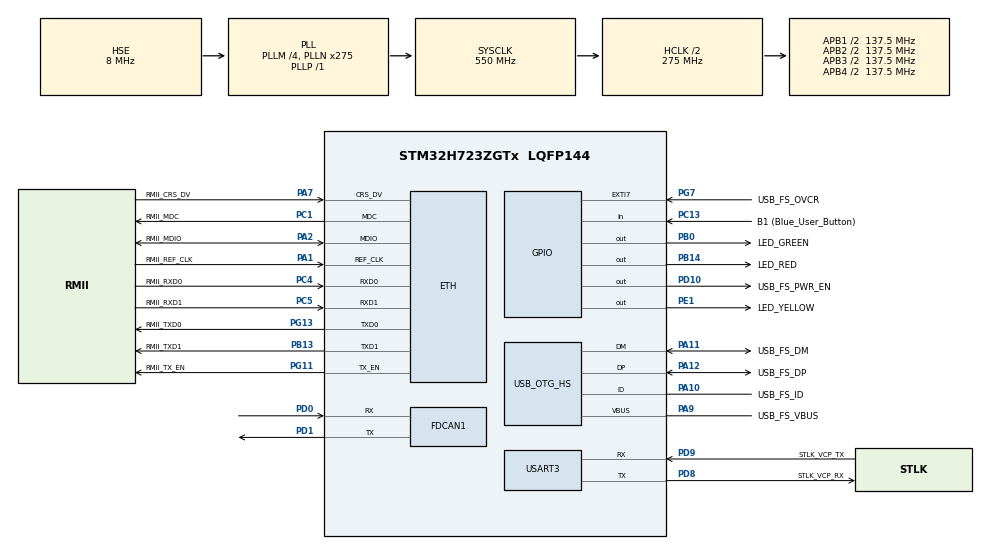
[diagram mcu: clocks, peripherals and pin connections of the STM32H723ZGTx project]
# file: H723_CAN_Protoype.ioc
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ETH.MediaInterface=HAL_ETH_RMII_MODE
FDCAN1.CalculateBaudRateNominal=500000
FDCAN1.CalculateTimeBitNominal=2000
FDCAN1.CalculateTimeQuantumNominal=125.0
FDCAN1.NominalPrescaler=1
FDCAN1.NominalTimeSeg1=11
FDCAN1.NominalTimeSeg2=4
FREERTOS.Tasks01=defaultTask,24,128,StartDefaultTask,Default,NULL,Dynamic,NULL,NULL
FREERTOS.configUSE_NEWLIB_REENTRANT=1
Mcu.Family=STM32H7
Mcu.Name=STM32H723ZGTx
Mcu.Package=LQFP144
NVIC.PriorityGroup=NVIC_PRIORITYGROUP_4
NVIC.TIM6_DAC_IRQn=true\:15\:0\:false\:false\:true\:false\:false\:true\:true
NVIC.TimeBase=TIM6_DAC_IRQn
NVIC.TimeBaseIP=TIM6
PA1.GPIO_Label=RMII_REF_CLK
PA1.Mode=RMII
PA1.Signal=ETH_REF_CLK
PA10.GPIO_Label=USB_FS_ID
PA10.Mode=OTG/Dual-Role-Device-FS
PA10.Signal=USB_OTG_HS_ID
PA11.GPIO_Label=USB_FS_DM
PA11.Mode=OTG/Dual-Role-Device-FS
PA11.Signal=USB_OTG_HS_DM
PA12.GPIO_Label=USB_FS_DP
PA12.Mode=OTG/Dual-Role-Device-FS
PA12.Signal=USB_OTG_HS_DP
PA13(JTMS/SWDIO).GPIO_Label=SWDIO
PA13(JTMS/SWDIO).Mode=Trace_Asynchronous_SW
PA13(JTMS/SWDIO).Signal=DEBUG_JTMS-SWDIO
PA14(JTCK/SWCLK).GPIO_Label=SWCLK
PA14(JTCK/SWCLK).Mode=Trace_Asynchronous_SW
PA14(JTCK/SWCLK).Signal=DEBUG_JTCK-SWCLK
PA2.GPIO_Label=RMII_MDIO
PA2.Mode=RMII
PA2.Signal=ETH_MDIO
PA7.GPIO_Label=RMII_CRS_DV
PA7.Mode=RMII
PA7.Signal=ETH_CRS_DV
PA9.GPIO_Label=USB_FS_VBUS
PA9.Mode=Activate_VBUS_FS
PA9.Signal=USB_OTG_HS_VBUS
PB0.GPIO_Label=LED_GREEN
PB0.Signal=GPIO_Output
PB13.GPIO_Label=RMII_TXD1
PB13.Mode=RMII
PB13.Signal=ETH_TXD1
PB14.GPIO_Label=LED_RED
PB14.Signal=GPIO_Output
PB3(JTDO/TRACESWO).GPIO_Label=SWO
PB3(JTDO/TRACESWO).Mode=Trace_Asynchronous_SW
PB3(JTDO/TRACESWO).Signal=DEBUG_JTDO-SWO
PC1.GPIO_Label=RMII_MDC
PC1.Mode=RMII
PC1.Signal=ETH_MDC
PC13.GPIO_Label=B1 (Blue_User_Button)
PC13.Signal=GPIO_Input
PC14-OSC32_IN.Mode=LSE-External-Oscillator
PC14-OSC32_IN.Signal=RCC_OSC32_IN
PC15-OSC32_OUT.Mode=LSE-External-Oscillator
PC15-OSC32_OUT.Signal=RCC_OSC32_OUT
PC4.GPIO_Label=RMII_RXD0
PC4.Mode=RMII
PC4.Signal=ETH_RXD0
PC5.GPIO_Label=RMII_RXD1
PC5.Mode=RMII
PC5.Signal=ETH_RXD1
PD0.Mode=FDCAN_Activate
PD0.Signal=FDCAN1_RX
PD1.Mode=FDCAN_Activate
PD1.Signal=FDCAN1_TX
PD10.GPIO_Label=USB_FS_PWR_EN
PD10.Signal=GPIO_Output
PD8.GPIO_Label=STLK_VCP_RX
PD8.Mode=Asynchronous
PD8.Signal=USART3_TX
PD9.GPIO_Label=STLK_VCP_TX
PD9.Mode=Asynchronous
PD9.Signal=USART3_RX
PE1.GPIO_Label=LED_YELLOW
PE1.Signal=GPIO_Output
PG11.GPIO_Label=RMII_TX_EN
PG11.Mode=RMII
PG11.Signal=ETH_TX_EN
PG13.GPIO_Label=RMII_TXD0
PG13.Mode=RMII
PG13.Signal=ETH_TXD0
PG7.GPIO_Label=USB_FS_OVCR
PG7.Signal=GPXTI7
PH0-OSC_IN.GPIO_Label=MCO
PH0-OSC_IN.Mode=HSE-External-Clock-Source
PH0-OSC_IN.Signal=RCC_OSC_IN
PH1-OSC_OUT.Signal=RCC_OSC_OUT
ProjectManager.HeapSize=0x200
ProjectManager.StackSize=0x400
ProjectManager.TargetToolchain=STM32CubeIDE
RCC.ADCFreq_Value=76000000
RCC.APB1Freq_Value=137500000
RCC.APB2Freq_Value=137500000
RCC.APB3Freq_Value=137500000
RCC.APB4Freq_Value=137500000
RCC.CortexFreq_Value=550000000
RCC.D1PPRE=RCC_APB3_DIV2
RCC.D2PPRE1=RCC_APB1_DIV2
RCC.D2PPRE2=RCC_APB2_DIV2
RCC.D3PPRE=RCC_APB4_DIV2
RCC.DIVM1=4
RCC.DIVM2=1
RCC.DIVN1=275
RCC.DIVN2=19
RCC.DIVP1=1
RCC.DIVQ1=4
RCC.FDCANCLockSelection=RCC_FDCANCLKSOURCE_HSE
RCC.HCLKFreq_Value=275000000
RCC.HPRE=RCC_HCLK_DIV2
RCC.HSE_VALUE=8000000
RCC.PLLSourceVirtual=RCC_PLLSOURCE_HSE
RCC.SYSCLKFreq_VALUE=550000000
RCC.SYSCLKSource=RCC_SYSCLKSOURCE_PLLCLK
RCC.USBCLockSelection=RCC_USBCLKSOURCE_HSI48
RCC.USBFreq_Value=48000000
USART3.VirtualMode-Asynchronous=VM_ASYNC
VP_FREERTOS_VS_CMSIS_V2.Mode=CMSIS_V2
VP_SYS_VS_tim6.Mode=TIM6
board=NUCLEO-H723ZG

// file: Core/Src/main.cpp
/* USER CODE BEGIN Header */
/**
 ******************************************************************************
 * @file           : main.c
 * @brief          : Main program body
 ******************************************************************************
 * @attention
 *
 * Copyright (c) 2023 STMicroelectronics.
 * All rights reserved.
 *
 * This software is licensed under terms that can be found in the LICENSE file
 * in the root directory of this software component.
 * If no LICENSE file comes with this software, it is provided AS-IS.
 *
 ******************************************************************************
 */
/* USER CODE END Header */
#include "main.h"
#include "string.h"
#include "cmsis_os.h"

/* USER CODE BEGIN Includes */
#include "FreeRTOS.h"
#include <stdio.h>
#include "FS_CAN.h"

/* USER CODE END Includes */

#if defined(__ICCARM__) /*!< IAR Compiler */
#pragma location = 0x30000000
ETH_DMADescTypeDef DMARxDscrTab[ETH_RX_DESC_CNT]; /* Ethernet Rx DMA Descriptors */
#pragma location = 0x30000200
ETH_DMADescTypeDef DMATxDscrTab[ETH_TX_DESC_CNT]; /* Ethernet Tx DMA Descriptors */

#elif defined(__CC_ARM) /* MDK ARM Compiler */

__attribute__((at(0x30000000))) ETH_DMADescTypeDef DMARxDscrTab[ETH_RX_DESC_CNT]; /* Ethernet Rx DMA Descriptors */
__attribute__((at(0x30000200))) ETH_DMADescTypeDef DMATxDscrTab[ETH_TX_DESC_CNT]; /* Ethernet Tx DMA Descriptors */

#elif defined(__GNUC__) /* GNU Compiler */
ETH_DMADescTypeDef DMARxDscrTab[ETH_RX_DESC_CNT] __attribute__((section(".RxDecripSection"))); /* Ethernet Rx DMA Descriptors */
ETH_DMADescTypeDef DMATxDscrTab[ETH_TX_DESC_CNT] __attribute__((section(".TxDecripSection"))); /* Ethernet Tx DMA Descriptors */

#endif

ETH_TxPacketConfig TxConfig;

ETH_HandleTypeDef heth;

FDCAN_HandleTypeDef hfdcan1;

UART_HandleTypeDef huart3;

/* Definitions for defaultTask */

/* USER CODE BEGIN PV */
FS_CAN CAN1(&hfdcan1);
/* USER CODE END PV */

void SystemClock_Config(void);
static void MX_GPIO_Init(void);
static void MX_ETH_Init(void);
static void MX_USART3_UART_Init(void);
static void MX_USB_OTG_HS_USB_Init(void);
static void MX_FDCAN1_Init(void);
void StartDefaultTask(void *argument);

/* USER CODE BEGIN PFP */
void CAN_TX_Wrapper(void *parameters);
/* USER CODE END PFP */

/* USER CODE BEGIN 0 */
extern "C"
{
#ifdef __GNUC__
#define PUTCHAR_PROTOTYPE int __io_putchar(int ch)
#define GETCHAR_PROTOTYPE int __io_getchar(void)
#else
#define PUTCHAR_PROTOTYPE int fputc(int ch, FILE *f)
#define GETCHAR_PROTOTYPE int fgetc(FILE *f)
#endif

  PUTCHAR_PROTOTYPE
  {
    HAL_UART_Transmit(&huart3, (uint8_t *)&ch, 1, HAL_MAX_DELAY);
    return ch;
  }

  GETCHAR_PROTOTYPE
  {
    uint8_t ch = 0;

    /* Clear the Overrun flag just before receiving the first character */
    __HAL_UART_CLEAR_OREFLAG(&huart3);

    /* Wait for reception of a character on the USART RX line and echo this
     * character on console */
    HAL_UART_Receive(&huart3, (uint8_t *)&ch, 1, HAL_MAX_DELAY);
    HAL_UART_Transmit(&huart3, (uint8_t *)&ch, 1, HAL_MAX_DELAY);
    return ch;
  }
}
/* USER CODE END 0 */

int main(void)
{

  /* MCU Configuration--------------------------------------------------------*/

  /* Reset of all peripherals, Initializes the Flash interface and the Systick. */
  HAL_Init();

  /* Configure the system clock */
  SystemClock_Config();

  /* USER CODE BEGIN SysInit */
  setvbuf(stdin, NULL, _IONBF, 0);
  /* USER CODE END SysInit */

  /* Initialize all configured peripherals */
  MX_GPIO_Init();
  MX_ETH_Init();
  MX_USART3_UART_Init();
  MX_USB_OTG_HS_USB_Init();
  MX_FDCAN1_Init();
  /* USER CODE BEGIN 2 */
  if (HAL_FDCAN_Start(&hfdcan1) != HAL_OK)
  {
    Error_Handler();
  }
  printf("Can inited\n");

  xTaskCreate(
      CAN_TX_Wrapper,
      "CAN_TX",
      2048,
      NULL,
      1,
      NULL);

  /* USER CODE END 2 */

  /* Init scheduler */

  /* Create the thread(s) */
  /* creation of defaultTask */

  /* Start scheduler */
  vTaskStartScheduler();

  /* We should never get here as control is now taken by the scheduler */
  /* Infinite loop */
  while (1)
  {

  }
}

void SystemClock_Config(void)
{
  RCC_OscInitTypeDef RCC_OscInitStruct = {0};
  RCC_ClkInitTypeDef RCC_ClkInitStruct = {0};

  /** Supply configuration update enable
   */
  HAL_PWREx_ConfigSupply(PWR_LDO_SUPPLY);

  /** Configure the main internal regulator output voltage
   */
  __HAL_PWR_VOLTAGESCALING_CONFIG(PWR_REGULATOR_VOLTAGE_SCALE0);

  while (!__HAL_PWR_GET_FLAG(PWR_FLAG_VOSRDY))
  {
  }

  /** Initializes the RCC Oscillators according to the specified parameters
   * in the RCC_OscInitTypeDef structure.
   */
  RCC_OscInitStruct.OscillatorType = RCC_OSCILLATORTYPE_HSI48 | RCC_OSCILLATORTYPE_HSE;
  RCC_OscInitStruct.HSEState = RCC_HSE_BYPASS;
  RCC_OscInitStruct.HSI48State = RCC_HSI48_ON;
  RCC_OscInitStruct.PLL.PLLState = RCC_PLL_ON;
  RCC_OscInitStruct.PLL.PLLSource = RCC_PLLSOURCE_HSE;
  RCC_OscInitStruct.PLL.PLLM = 4;
  RCC_OscInitStruct.PLL.PLLN = 275;
  RCC_OscInitStruct.PLL.PLLP = 1;
  RCC_OscInitStruct.PLL.PLLQ = 4;
  RCC_OscInitStruct.PLL.PLLR = 2;
  RCC_OscInitStruct.PLL.PLLRGE = RCC_PLL1VCIRANGE_1;
  RCC_OscInitStruct.PLL.PLLVCOSEL = RCC_PLL1VCOWIDE;
  RCC_OscInitStruct.PLL.PLLFRACN = 0;
  if (HAL_RCC_OscConfig(&RCC_OscInitStruct) != HAL_OK)
  {
    Error_Handler();
  }

  /** Initializes the CPU, AHB and APB buses clocks
   */
  RCC_ClkInitStruct.ClockType = RCC_CLOCKTYPE_HCLK | RCC_CLOCKTYPE_SYSCLK | RCC_CLOCKTYPE_PCLK1 | RCC_CLOCKTYPE_PCLK2 | RCC_CLOCKTYPE_D3PCLK1 | RCC_CLOCKTYPE_D1PCLK1;
  RCC_ClkInitStruct.SYSCLKSource = RCC_SYSCLKSOURCE_PLLCLK;
  RCC_ClkInitStruct.SYSCLKDivider = RCC_SYSCLK_DIV1;
  RCC_ClkInitStruct.AHBCLKDivider = RCC_HCLK_DIV2;
  RCC_ClkInitStruct.APB3CLKDivider = RCC_APB3_DIV2;
  RCC_ClkInitStruct.APB1CLKDivider = RCC_APB1_DIV2;
  RCC_ClkInitStruct.APB2CLKDivider = RCC_APB2_DIV2;
  RCC_ClkInitStruct.APB4CLKDivider = RCC_APB4_DIV2;

  if (HAL_RCC_ClockConfig(&RCC_ClkInitStruct, FLASH_LATENCY_3) != HAL_OK)
  {
    Error_Handler();
  }
}

static void MX_ETH_Init(void)
{

  static uint8_t MACAddr[6];

  heth.Instance = ETH;
  MACAddr[0] = 0x00;
  MACAddr[1] = 0x80;
  MACAddr[2] = 0xE1;
  MACAddr[3] = 0x00;
  MACAddr[4] = 0x00;
  MACAddr[5] = 0x00;
  heth.Init.MACAddr = &MACAddr[0];
  heth.Init.MediaInterface = HAL_ETH_RMII_MODE;
  heth.Init.TxDesc = DMATxDscrTab;
  heth.Init.RxDesc = DMARxDscrTab;
  heth.Init.RxBuffLen = 1524;

  if (HAL_ETH_Init(&heth) != HAL_OK)
  {
    Error_Handler();
  }

  memset(&TxConfig, 0, sizeof(ETH_TxPacketConfig));
  TxConfig.Attributes = ETH_TX_PACKETS_FEATURES_CSUM | ETH_TX_PACKETS_FEATURES_CRCPAD;
  TxConfig.ChecksumCtrl = ETH_CHECKSUM_IPHDR_PAYLOAD_INSERT_PHDR_CALC;
  TxConfig.CRCPadCtrl = ETH_CRC_PAD_INSERT;
}

static void MX_FDCAN1_Init(void)
{

  hfdcan1.Instance = FDCAN1;
  hfdcan1.Init.FrameFormat = FDCAN_FRAME_CLASSIC;
  hfdcan1.Init.Mode = FDCAN_MODE_NORMAL;
  hfdcan1.Init.AutoRetransmission = DISABLE;
  hfdcan1.Init.TransmitPause = DISABLE;
  hfdcan1.Init.ProtocolException = DISABLE;
  hfdcan1.Init.NominalPrescaler = 1;
  hfdcan1.Init.NominalSyncJumpWidth = 1;
  hfdcan1.Init.NominalTimeSeg1 = 11;
  hfdcan1.Init.NominalTimeSeg2 = 4;
  hfdcan1.Init.DataPrescaler = 1;
  hfdcan1.Init.DataSyncJumpWidth = 1;
  hfdcan1.Init.DataTimeSeg1 = 1;
  hfdcan1.Init.DataTimeSeg2 = 1;
  hfdcan1.Init.MessageRAMOffset = 0;
  hfdcan1.Init.StdFiltersNbr = 0;
  hfdcan1.Init.ExtFiltersNbr = 0;
  hfdcan1.Init.RxFifo0ElmtsNbr = 0;
  hfdcan1.Init.RxFifo0ElmtSize = FDCAN_DATA_BYTES_8;
  hfdcan1.Init.RxFifo1ElmtsNbr = 0;
  hfdcan1.Init.RxFifo1ElmtSize = FDCAN_DATA_BYTES_8;
  hfdcan1.Init.RxBuffersNbr = 0;
  hfdcan1.Init.RxBufferSize = FDCAN_DATA_BYTES_8;
  hfdcan1.Init.TxEventsNbr = 0;
  hfdcan1.Init.TxBuffersNbr = 0;
  hfdcan1.Init.TxFifoQueueElmtsNbr = 1;
  hfdcan1.Init.TxFifoQueueMode = FDCAN_TX_FIFO_OPERATION;
  hfdcan1.Init.TxElmtSize = FDCAN_DATA_BYTES_8;
  if (HAL_FDCAN_Init(&hfdcan1) != HAL_OK)
  {
    Error_Handler();
  }
}

static void MX_USART3_UART_Init(void)
{

  huart3.Instance = USART3;
  huart3.Init.BaudRate = 115200;
  huart3.Init.WordLength = UART_WORDLENGTH_8B;
  huart3.Init.StopBits = UART_STOPBITS_1;
  huart3.Init.Parity = UART_PARITY_NONE;
  huart3.Init.Mode = UART_MODE_TX_RX;
  huart3.Init.HwFlowCtl = UART_HWCONTROL_NONE;
  huart3.Init.OverSampling = UART_OVERSAMPLING_16;
  huart3.Init.OneBitSampling = UART_ONE_BIT_SAMPLE_DISABLE;
  huart3.Init.ClockPrescaler = UART_PRESCALER_DIV1;
  huart3.AdvancedInit.AdvFeatureInit = UART_ADVFEATURE_NO_INIT;
  if (HAL_UART_Init(&huart3) != HAL_OK)
  {
    Error_Handler();
  }
  if (HAL_UARTEx_SetTxFifoThreshold(&huart3, UART_TXFIFO_THRESHOLD_1_8) != HAL_OK)
  {
    Error_Handler();
  }
  if (HAL_UARTEx_SetRxFifoThreshold(&huart3, UART_RXFIFO_THRESHOLD_1_8) != HAL_OK)
  {
    Error_Handler();
  }
  if (HAL_UARTEx_DisableFifoMode(&huart3) != HAL_OK)
  {
    Error_Handler();
  }
}

static void MX_USB_OTG_HS_USB_Init(void)
{

}

static void MX_GPIO_Init(void)
{
  GPIO_InitTypeDef GPIO_InitStruct = {0};

  /* GPIO Ports Clock Enable */
  __HAL_RCC_GPIOC_CLK_ENABLE();
  __HAL_RCC_GPIOH_CLK_ENABLE();
  __HAL_RCC_GPIOA_CLK_ENABLE();
  __HAL_RCC_GPIOB_CLK_ENABLE();
  __HAL_RCC_GPIOD_CLK_ENABLE();
  __HAL_RCC_GPIOG_CLK_ENABLE();
  __HAL_RCC_GPIOE_CLK_ENABLE();

  /*Configure GPIO pin Output Level */
  HAL_GPIO_WritePin(GPIOB, LED_GREEN_Pin | LED_RED_Pin, GPIO_PIN_RESET);

  /*Configure GPIO pin Output Level */
  HAL_GPIO_WritePin(USB_FS_PWR_EN_GPIO_Port, USB_FS_PWR_EN_Pin, GPIO_PIN_RESET);

  /*Configure GPIO pin Output Level */
  HAL_GPIO_WritePin(LED_YELLOW_GPIO_Port, LED_YELLOW_Pin, GPIO_PIN_RESET);

  /*Configure GPIO pin : B1_Pin */
  GPIO_InitStruct.Pin = B1_Pin;
  GPIO_InitStruct.Mode = GPIO_MODE_INPUT;
  GPIO_InitStruct.Pull = GPIO_NOPULL;
  HAL_GPIO_Init(B1_GPIO_Port, &GPIO_InitStruct);

  /*Configure GPIO pins : LED_GREEN_Pin LED_RED_Pin */
  GPIO_InitStruct.Pin = LED_GREEN_Pin | LED_RED_Pin;
  GPIO_InitStruct.Mode = GPIO_MODE_OUTPUT_PP;
  GPIO_InitStruct.Pull = GPIO_NOPULL;
  GPIO_InitStruct.Speed = GPIO_SPEED_FREQ_LOW;
  HAL_GPIO_Init(GPIOB, &GPIO_InitStruct);

  /*Configure GPIO pin : USB_FS_PWR_EN_Pin */
  GPIO_InitStruct.Pin = USB_FS_PWR_EN_Pin;
  GPIO_InitStruct.Mode = GPIO_MODE_OUTPUT_PP;
  GPIO_InitStruct.Pull = GPIO_NOPULL;
  GPIO_InitStruct.Speed = GPIO_SPEED_FREQ_LOW;
  HAL_GPIO_Init(USB_FS_PWR_EN_GPIO_Port, &GPIO_InitStruct);

  /*Configure GPIO pin : USB_FS_OVCR_Pin */
  GPIO_InitStruct.Pin = USB_FS_OVCR_Pin;
  GPIO_InitStruct.Mode = GPIO_MODE_IT_RISING;
  GPIO_InitStruct.Pull = GPIO_NOPULL;
  HAL_GPIO_Init(USB_FS_OVCR_GPIO_Port, &GPIO_InitStruct);

  /*Configure GPIO pin : USB_FS_VBUS_Pin */
  GPIO_InitStruct.Pin = USB_FS_VBUS_Pin;
  GPIO_InitStruct.Mode = GPIO_MODE_INPUT;
  GPIO_InitStruct.Pull = GPIO_NOPULL;
  HAL_GPIO_Init(USB_FS_VBUS_GPIO_Port, &GPIO_InitStruct);

  /*Configure GPIO pin : USB_FS_ID_Pin */
  GPIO_InitStruct.Pin = USB_FS_ID_Pin;
  GPIO_InitStruct.Mode = GPIO_MODE_AF_PP;
  GPIO_InitStruct.Pull = GPIO_NOPULL;
  GPIO_InitStruct.Speed = GPIO_SPEED_FREQ_LOW;
  GPIO_InitStruct.Alternate = GPIO_AF10_OTG1_HS;
  HAL_GPIO_Init(USB_FS_ID_GPIO_Port, &GPIO_InitStruct);

  /*Configure GPIO pin : LED_YELLOW_Pin */
  GPIO_InitStruct.Pin = LED_YELLOW_Pin;
  GPIO_InitStruct.Mode = GPIO_MODE_OUTPUT_PP;
  GPIO_InitStruct.Pull = GPIO_NOPULL;
  GPIO_InitStruct.Speed = GPIO_SPEED_FREQ_LOW;
  HAL_GPIO_Init(LED_YELLOW_GPIO_Port, &GPIO_InitStruct);

}

/* USER CODE BEGIN 4 */
void CAN_TX_Wrapper(void *parameters)
{
  CAN1.CAN_TX_Task(parameters);
}
/* USER CODE END 4 */

void StartDefaultTask(void *argument)
{
  /* USER CODE BEGIN 5 */
  /* Infinite loop */
  for (;;)
  {
    FDCAN_TxHeaderTypeDef TxHeader1;
    uint8_t TxData1[8] = {0, 1, 0, 0, 0, 0, 0, 0};
    TxHeader1.Identifier = 10;
    TxHeader1.IdType = FDCAN_STANDARD_ID;
    TxHeader1.TxFrameType = FDCAN_CLASSIC_CAN;
    TxHeader1.DataLength = FDCAN_DLC_BYTES_8;
    TxHeader1.ErrorStateIndicator = FDCAN_ESI_ACTIVE;
    TxHeader1.BitRateSwitch = FDCAN_BRS_OFF;
    TxHeader1.FDFormat = FDCAN_CLASSIC_CAN;
    TxHeader1.TxEventFifoControl = FDCAN_NO_TX_EVENTS;
    TxHeader1.MessageMarker = 0;
    HAL_StatusTypeDef CANBusStatus = HAL_FDCAN_AddMessageToTxFifoQ(&hfdcan1, &TxHeader1, TxData1);

    if (CANBusStatus != HAL_OK)
    {
      Error_Handler();
    }
    printf("sending CAN Message!");
    osDelay(1000);
  }
  /* USER CODE END 5 */
}

void HAL_TIM_PeriodElapsedCallback(TIM_HandleTypeDef *htim)
{
  if (htim->Instance == TIM6)
  {
    HAL_IncTick();
  }
}

void Error_Handler(void)
{
  __disable_irq();
  while (1)
  {
  }
}
